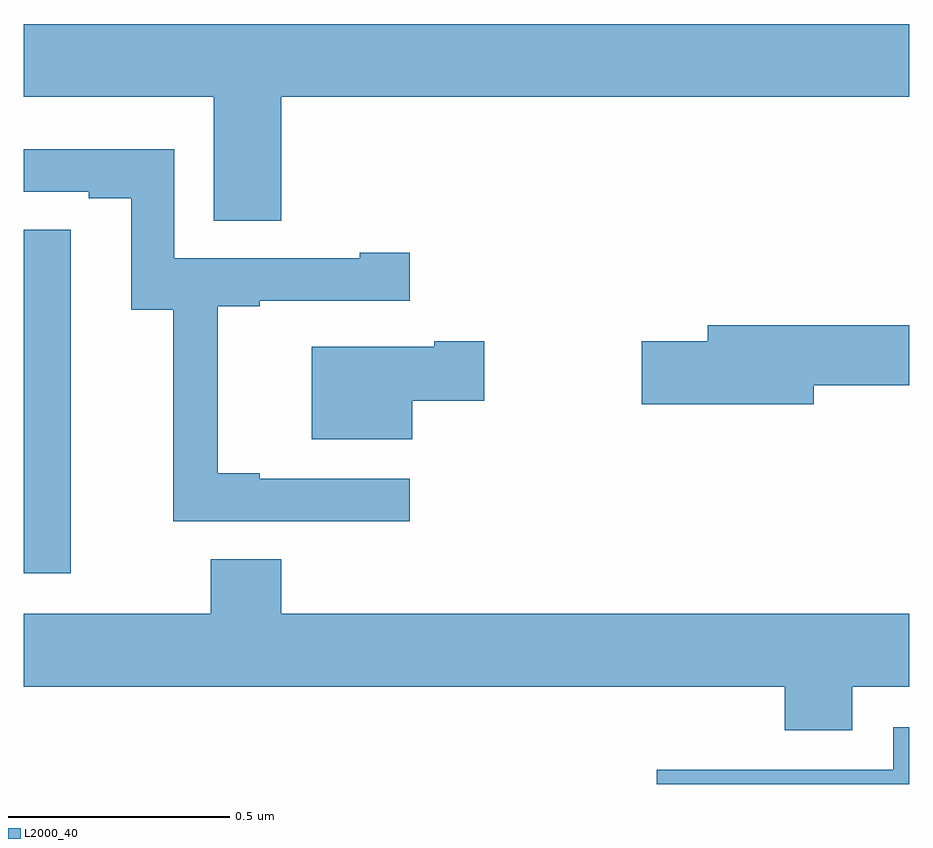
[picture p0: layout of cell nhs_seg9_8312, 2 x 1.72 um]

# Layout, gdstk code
import gdstk
lib = gdstk.Library(unit=1e-6, precision=1e-09)
def P(c, l, *ps):  # polygons
    for p in ps: c.add(gdstk.Polygon(p, *l))
L2000_40 = (2000, 40)

nhs_seg9_8312 = lib.new_cell('nhs_seg9_8312')
P(nhs_seg9_8312, L2000_40, [(215,1231.052),(215.429,1231.052),(215.429,1230.772),(215.582,1230.772),(215.582,1231.052),(217,1231.052),(217,1231.216),(215,1231.216)],
  [(215.872,1230.189),(215.533,1230.189),(215.533,1230.202),(215.438,1230.202),(215.438,1230.579),(215.533,1230.579),(215.533,1230.591),(215.872,1230.591),(215.872,1230.7),(215.759,1230.7),(215.759,1230.687),(215.34,1230.687),(215.34,1230.933),(215,1230.933),(215,1230.837),(215.147,1230.837),(215.147,1230.822),(215.243,1230.822),(215.243,1230.571),(215.338,1230.571),(215.338,1230.093),(215.872,1230.093)],
  [(215.107,1230.644),(215.106,1230.644),(215.106,1230.752),(215,1230.752),(215,1229.976),(215.107,1229.976)],
  [(216.784,1230.4),(217,1230.4),(217,1230.536),(216.545,1230.536),(216.545,1230.5),(216.396,1230.5),(216.396,1230.358),(216.784,1230.358)],
  [(215.878,1230.365),(216.04,1230.365),(216.04,1230.5),(215.927,1230.5),(215.927,1230.487),(215.651,1230.487),(215.651,1230.278),(215.878,1230.278)],
  [(216.871,1229.72),(217,1229.72),(217,1229.884),(215.582,1229.884),(215.582,1230.008),(215.422,1230.008),(215.422,1229.884),(215,1229.884),(215,1229.72),(216.719,1229.72),(216.719,1229.621),(216.871,1229.621)],
  [(217,1229.628),(216.963,1229.628),(216.963,1229.532),(216.429,1229.532),(216.429,1229.5),(217,1229.5)])

lib.write_gds('nhs_seg9_8312.gds')
